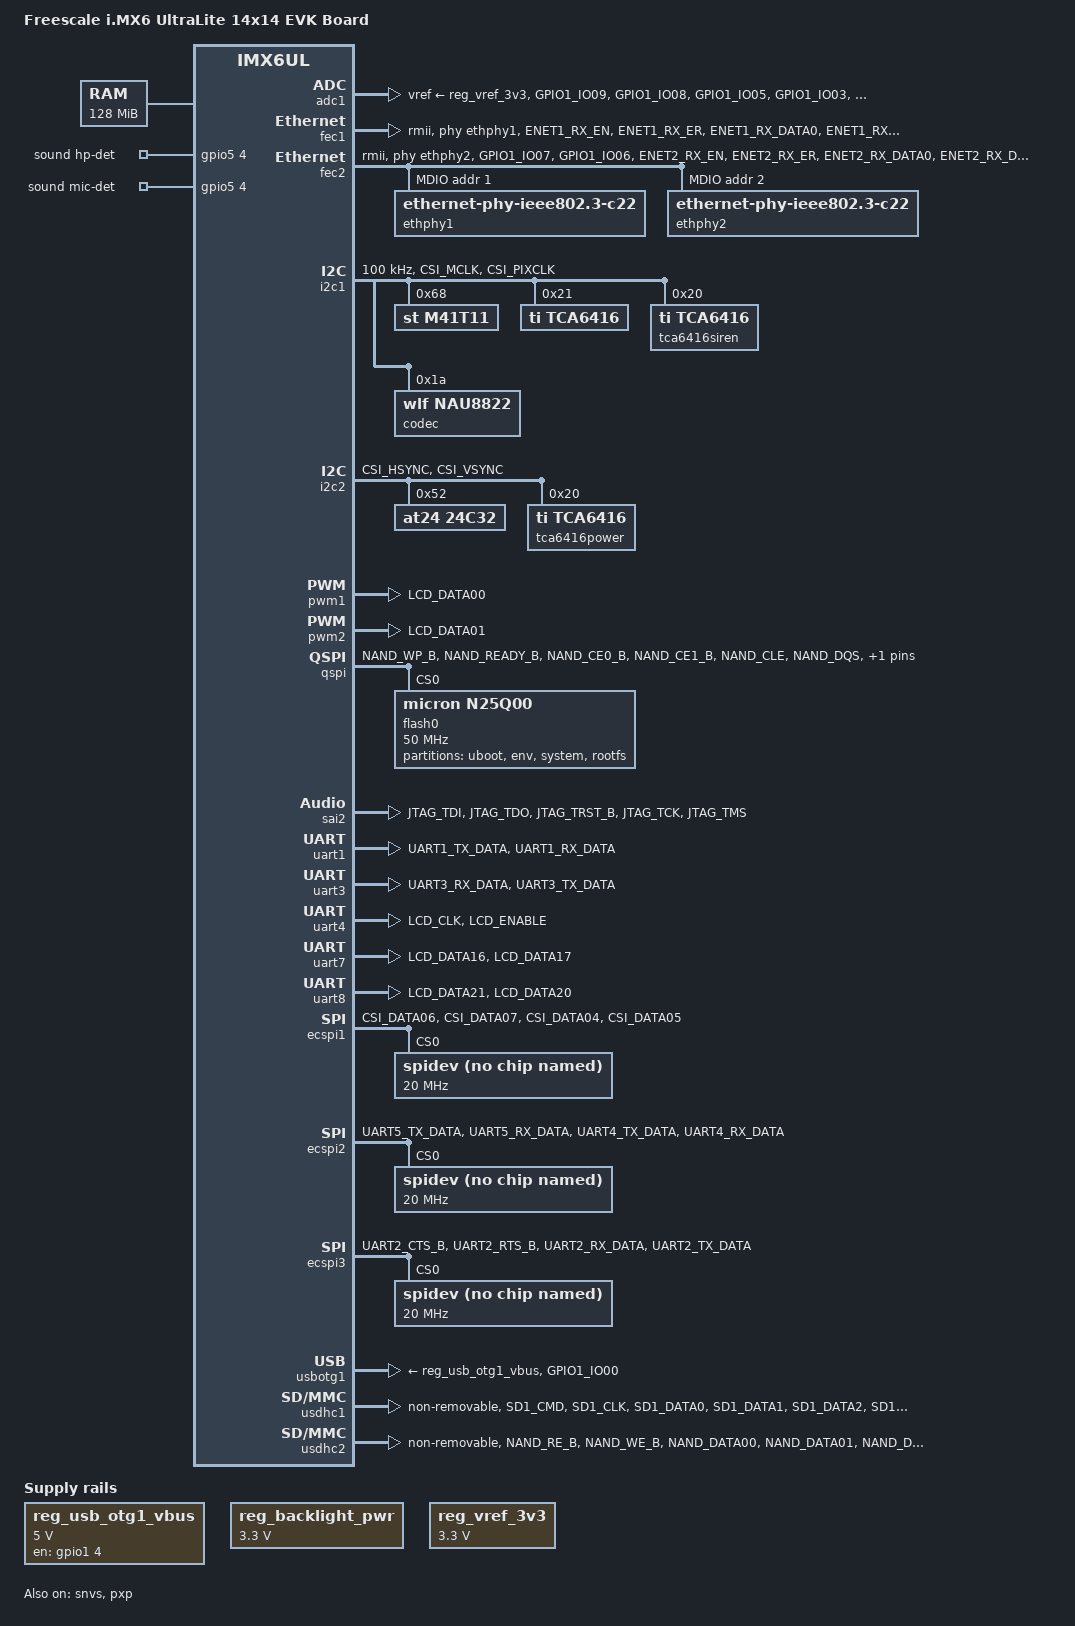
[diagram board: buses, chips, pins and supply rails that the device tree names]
/*
 * Copyright (C) 2015 Freescale Semiconductor, Inc.
 *
 * This program is free software; you can redistribute it and/or modify
 * it under the terms of the GNU General Public License version 2 as
 * published by the Free Software Foundation.
 */

/dts-v1/;

#include <dt-bindings/input/input.h>
#include "imx6ul.dtsi"

/ {
	model = "Freescale i.MX6 UltraLite 14x14 EVK Board";
	compatible = "fsl,imx6ul-health-care", "fsl,imx6ul";

	chosen {
		stdout-path = &uart1;
	};

	memory {
		reg = <0x80000000 0x8000000>;
	};

	reserved-memory {
		#address-cells = <1>;
		#size-cells = <1>;
		ranges;

		linux,cma {
			compatible = "shared-dma-pool";
			reusable;
			size = <0x2000000>;
			linux,cma-default;
		};
	};

	

	pxp_v4l2 {
		compatible = "fsl,imx6ul-pxp-v4l2", "fsl,imx6sx-pxp-v4l2", "fsl,imx6sl-pxp-v4l2";
		status = "okay";
	};

	/*backlight0 {
		compatible = "pwm-backlight";
		pwms = <&pwm2 0 50000>;
		brightness-levels = <0 4 8 16 32 64 128 255>;
		default-brightness-level = <6>;
		power-supply = <&reg_backlight_pwr>;
		enable-gpios = <&gpio3 6 1>;
		status = "okay";
	};*/

	regulators { 
		compatible = "simple-bus";
		#address-cells = <1>;
		#size-cells = <0>;

		reg_usb_otg1_vbus: regulator@2 {
			compatible = "regulator-fixed";
			reg = <2>;
			pinctrl-names = "default";
			pinctrl-0 = <&pinctrl_usb_otg1>;
			regulator-name = "usb_otg1_vbus";
			regulator-min-microvolt = <5000000>;
			regulator-max-microvolt = <5000000>;
			//gpio = <&gpio2 0 GPIO_ACTIVE_HIGH>;
			//enable-active-high;
			gpio = <&gpio1 4 GPIO_ACTIVE_HIGH>;
			enable-active-high;
		};
		reg_backlight_pwr: regulator@4 {
			compatible = "regulator-fixed";
			reg = <4>;
			regulator-name = "backlight-pwr";
			regulator-min-microvolt = <3300000>;
			regulator-max-microvolt = <3300000>;
		};

		reg_vref_3v3: regulator@7 {
			compatible = "regulator-fixed";
			reg = <7>;
			regulator-name = "vref-3v3";
			regulator-min-microvolt = <3300000>;
			regulator-max-microvolt = <3300000>;
		};

		
	};

	/*sound {
		compatible = "fsl,imx-audio-nau8822";
		model = "nau8822-audio";
		ssi-controller = <&ssi2>;
		audio-codec = <&codec>;
		audio-routing =
			"Mic Bias", "AMIC";
		mux-int-port = <2>;
		mux-ext-port = <6>;
	};*/
	sound {
		compatible = "fsl,imx-audio-nau8822",
			   "fsl,imx-audio-nau8822";
		model = "nau8822-audio";
		cpu-dai = <&sai2>;
		audio-codec = <&codec>;
		asrc-controller = <&asrc>;
		codec-master;
		gpr = <&gpr>;
		/*
                 * hp-det = <hp-det-pin hp-det-polarity>;
		 * hp-det-pin: JD1 JD2  or JD3
		 * hp-det-polarity = 0: hp detect high for headphone
		 * hp-det-polarity = 1: hp detect high for speaker
		 */
		hp-det = <1 0>;
		hp-det-gpios = <&gpio5 4 0>;
		mic-det-gpios = <&gpio5 4 0>;
		/*audio-routing =
			"Headphone Jack", "HP_L",
			"Headphone Jack", "HP_R",
			"Ext Spk", "SPK_LP",
			"Ext Spk", "SPK_LN",
			"Ext Spk", "SPK_RP",
			"Ext Spk", "SPK_RN",
			"LINPUT2", "Mic Jack",
			"LINPUT3", "Mic Jack",
			"RINPUT1", "Main MIC",
			"RINPUT2", "Main MIC",
			"Mic Jack", "MICB",
			"Main MIC", "MICB",
			"CPU-Playback", "ASRC-Playback",
			"Playback", "CPU-Playback",
			"ASRC-Capture", "CPU-Capture",
			"CPU-Capture", "Capture";*/
		audio-routing =
			"Mic Bias", "AMIC",
			"Ext Spk", "LSPK",
			"Ext Spk", "RSPK",
			"Mic Bias", "LMICN",
			"Mic Bias", "LMICP";
	};

	
	
};

&cpu0 {
	arm-supply = <&reg_arm>;
	soc-supply = <&reg_soc>;
	//dc-supply = <&reg_gpio_dvfs>;
};

&clks {
	assigned-clocks = <&clks IMX6UL_CLK_PLL4_AUDIO_DIV>;
	assigned-clock-rates = <786432000>;
};

&csi {
	status = "disabled";

	
};

&adc1 {
	pinctrl-names = "default";
	pinctrl-0 = <&pinctrl_adc1>;
	vref-supply = <&reg_vref_3v3>;
	status = "okay";
};

/*&adc2 {
	vref-supply = <&reg_vref_3v3>;
	status = "okay";
};*/


&fec1 {
	pinctrl-names = "default";
	pinctrl-0 = <&pinctrl_enet1>;
	phy-mode = "rmii";
	phy-handle = <&ethphy1>;
	status = "okay";
};

&fec2 {
	pinctrl-names = "default";
	pinctrl-0 = <&pinctrl_enet2>;
	phy-mode = "rmii";
	phy-handle = <&ethphy2>;
	status = "okay";

	mdio {
		#address-cells = <1>;
		#size-cells = <0>;

		ethphy1: ethernet-phy@1 {
			compatible = "ethernet-phy-ieee802.3-c22";
			reg = <1>;
		};

		ethphy2: ethernet-phy@2 {
			compatible = "ethernet-phy-ieee802.3-c22";
			reg = <2>;
		};
	};
};

/*&flexcan1 {
	pinctrl-names = "default";
	pinctrl-0 = <&pinctrl_flexcan1>;
	//xceiver-supply = <&reg_can_3v3>;
	status = "disabled";
};

&flexcan2 {
	pinctrl-names = "default";
	pinctrl-0 = <&pinctrl_flexcan2>;
	//xceiver-supply = <&reg_can_3v3>;
	status = "disabled";
};*/

&gpc {
	fsl,cpu_pupscr_sw2iso = <0x1>;
	fsl,cpu_pupscr_sw = <0x0>;
	fsl,cpu_pdnscr_iso2sw = <0x1>;
	fsl,cpu_pdnscr_iso = <0x1>;
	fsl,ldo-bypass = <0>; /* DCDC, ldo-enable */
};

&i2c1 {
	clock-frequency = <100000>;
	pinctrl-names = "default";
	pinctrl-0 = <&pinctrl_i2c1>;
	status = "okay";

	/*mag3110@0e {
		compatible = "fsl,mag3110";
		reg = <0x0e>;
		position = <2>;
	};

	fxls8471@1e {
		compatible = "fsl,fxls8471";
		reg = <0x1e>;
		position = <0>;
		interrupt-parent = <&gpio5>;
		interrupts = <0 8>;
	};*/

	m41t11: m41t11@68 {  
		compatible = "st,m41t11"; 
		reg = <0x68>;
            	status = "okay"; 
	};

	tca6416: tca6416@21 {
		compatible = "ti,tca6416";
		reg = <0x21>;
		#gpio-cells = <2>;
		gpio-controller;
	};

	tca6416siren: tca6416@20 {
		compatible = "ti,tca6416";
		reg = <0x20>;
		#gpio-cells = <2>;
		gpio-controller;
	};

	/*codec: nau8822@1a {
		compatible = "wlf,nau8822";
		reg = <0x1a>;
		clocks = <&clks IMX6UL_CLK_AUDIO>;
	};*/
	codec: nau8822@1a {
		compatible = "wlf,nau8822";
		reg = <0x1a>;
		clocks = <&clks IMX6UL_CLK_SAI2>;
		clock-names = "mclk";
		wlf,shared-lrclk;
	};
};

&i2c2 {
	clock_frequency = <100000>;
	pinctrl-names = "default";
	pinctrl-0 = <&pinctrl_i2c2>;
	status = "okay";

	at24@52 {
		compatible = "at24,24c32";
		pagesize = <32>;
		reg = <0x52>;
	};

	tca6416power: tca6416@20 {
		compatible = "ti,tca6416";
		reg = <0x20>;
		#gpio-cells = <2>;
		gpio-controller;
	};
};

&snvs{
	status = "okay";
};

&iomuxc {
	pinctrl-names = "default";
	pinctrl-0 = <&pinctrl_hog_1>;
	mx6ul-health-care {
		pinctrl_hog_1: hoggrp-1 {
			fsl,pins = <
				MX6UL_PAD_UART1_RTS_B__GPIO1_IO19	0x17059 /* SD1 CD */
				//MX6UL_PAD_GPIO1_IO05__USDHC1_VSELECT	0x17059 /* SD1 VSELECT */
				//MX6UL_PAD_GPIO1_IO09__GPIO1_IO09        0x17059 /* SD1 RESET */
				MX6UL_PAD_SNVS_TAMPER0__GPIO5_IO00	0x80000000
			>;
		};

		pinctrl_adc1: adc1grp {
			fsl,pins = <
			  	MX6UL_PAD_GPIO1_IO09__GPIO1_IO09 0xb0
				MX6UL_PAD_GPIO1_IO08__GPIO1_IO08 0xb0
				MX6UL_PAD_GPIO1_IO05__GPIO1_IO05 0xb0
				MX6UL_PAD_GPIO1_IO03__GPIO1_IO03 0xb0
				MX6UL_PAD_GPIO1_IO02__GPIO1_IO02 0xb0
			>;
		};

		pinctrl_csi1: csi1grp {
			fsl,pins = <
				/*MX6UL_PAD_CSI_MCLK__CSI_MCLK		0x1b088
				MX6UL_PAD_CSI_PIXCLK__CSI_PIXCLK	0x1b088
				MX6UL_PAD_CSI_VSYNC__CSI_VSYNC		0x1b088
				MX6UL_PAD_CSI_HSYNC__CSI_HSYNC		0x1b088
				MX6UL_PAD_CSI_DATA00__CSI_DATA02	0x1b088
				MX6UL_PAD_CSI_DATA01__CSI_DATA03	0x1b088
				MX6UL_PAD_CSI_DATA02__CSI_DATA04	0x1b088
				MX6UL_PAD_CSI_DATA03__CSI_DATA05	0x1b088
				MX6UL_PAD_CSI_DATA04__CSI_DATA06	0x1b088
				MX6UL_PAD_CSI_DATA05__CSI_DATA07	0x1b088
				MX6UL_PAD_CSI_DATA06__CSI_DATA08	0x1b088
				MX6UL_PAD_CSI_DATA07__CSI_DATA09	0x1b088*/
			>;
		};

		pinctrl_dvfs: dvfsgrp {
			fsl,pins = <
				MX6UL_PAD_SNVS_TAMPER3__GPIO5_IO03	0x79
			>;
		};

		pinctrl_enet1: enet1grp {
			fsl,pins = <
				MX6UL_PAD_ENET1_RX_EN__ENET1_RX_EN	0x1b0b0
				MX6UL_PAD_ENET1_RX_ER__ENET1_RX_ER	0x1b0b0
				MX6UL_PAD_ENET1_RX_DATA0__ENET1_RDATA00	0x1b0b0
				MX6UL_PAD_ENET1_RX_DATA1__ENET1_RDATA01	0x1b0b0
				MX6UL_PAD_ENET1_TX_EN__ENET1_TX_EN	0x1b0b0
				MX6UL_PAD_ENET1_TX_DATA0__ENET1_TDATA00	0x1b0b0
				MX6UL_PAD_ENET1_TX_DATA1__ENET1_TDATA01	0x1b0b0
				//MX6UL_PAD_ENET1_TX_CLK__ENET1_REF_CLK1	0x4001b031

			>;
		};

		pinctrl_enet2: enet2grp {
			fsl,pins = <
				MX6UL_PAD_GPIO1_IO07__ENET2_MDC		0x1b0b0
				MX6UL_PAD_GPIO1_IO06__ENET2_MDIO	0x1b0b0
				MX6UL_PAD_ENET2_RX_EN__ENET2_RX_EN	0x1b0b0
				MX6UL_PAD_ENET2_RX_ER__ENET2_RX_ER	0x1b0b0
				MX6UL_PAD_ENET2_RX_DATA0__ENET2_RDATA00	0x1b0b0
				MX6UL_PAD_ENET2_RX_DATA1__ENET2_RDATA01	0x1b0b0
				MX6UL_PAD_ENET2_TX_EN__ENET2_TX_EN	0x1b0b0
				MX6UL_PAD_ENET2_TX_DATA0__ENET2_TDATA00	0x1b0b0
				MX6UL_PAD_ENET2_TX_DATA1__ENET2_TDATA01	0x1b0b0
				MX6UL_PAD_ENET2_TX_CLK__ENET2_REF_CLK2	0x4001b031
				MX6UL_PAD_ENET1_TX_CLK__ENET1_REF_CLK1	0x4001b031
			>;
		};

		pinctrl_flexcan1: flexcan1grp{
			fsl,pins = <
				MX6UL_PAD_UART3_RTS_B__FLEXCAN1_RX	0x1b020
				MX6UL_PAD_UART3_CTS_B__FLEXCAN1_TX	0x1b020
			>;
		};

		pinctrl_flexcan2: flexcan2grp{
			fsl,pins = <
				//MX6UL_PAD_UART2_RTS_B__FLEXCAN2_RX	0x1b020
				//MX6UL_PAD_UART2_CTS_B__FLEXCAN2_TX	0x1b020
			>;
		};

		pinctrl_i2c1: i2c1grp {
			fsl,pins = <
				//MX6UL_PAD_UART4_TX_DATA__I2C1_SCL 0x4001b8b0
				//MX6UL_PAD_UART4_RX_DATA__I2C1_SDA 0x4001b8b0
				MX6UL_PAD_CSI_MCLK__I2C1_SDA 0x4001b8b0
				MX6UL_PAD_CSI_PIXCLK__I2C1_SCL 0x4001b8b0
			>;
		};

		pinctrl_i2c2: i2c2grp {
			fsl,pins = <
				//MX6UL_PAD_UART5_TX_DATA__I2C2_SCL 0x4001b8b0
				//MX6UL_PAD_UART5_RX_DATA__I2C2_SDA 0x4001b8b0
				MX6UL_PAD_CSI_HSYNC__I2C2_SCL 0x4001b8b0
				MX6UL_PAD_CSI_VSYNC__I2C2_SDA 0x4001b8b0
			>;
		};

		pinctrl_lcdif_dat: lcdifdatgrp {
			fsl,pins = <
				//MX6UL_PAD_LCD_DATA00__LCDIF_DATA00  0x79
				//MX6UL_PAD_LCD_DATA01__LCDIF_DATA01  0x79
				MX6UL_PAD_LCD_DATA02__LCDIF_DATA02  0x79
				MX6UL_PAD_LCD_DATA03__LCDIF_DATA03  0x79
				MX6UL_PAD_LCD_DATA04__LCDIF_DATA04  0x79
				MX6UL_PAD_LCD_DATA05__LCDIF_DATA05  0x79
				MX6UL_PAD_LCD_DATA06__LCDIF_DATA06  0x79
				MX6UL_PAD_LCD_DATA07__LCDIF_DATA07  0x79
				MX6UL_PAD_LCD_DATA08__LCDIF_DATA08  0x79
				MX6UL_PAD_LCD_DATA09__LCDIF_DATA09  0x79
				MX6UL_PAD_LCD_DATA10__LCDIF_DATA10  0x79
				MX6UL_PAD_LCD_DATA11__LCDIF_DATA11  0x79
				MX6UL_PAD_LCD_DATA12__LCDIF_DATA12  0x79
				MX6UL_PAD_LCD_DATA13__LCDIF_DATA13  0x79
				MX6UL_PAD_LCD_DATA14__LCDIF_DATA14  0x79
				MX6UL_PAD_LCD_DATA15__LCDIF_DATA15  0x79
				//MX6UL_PAD_LCD_DATA16__LCDIF_DATA16  0x79
				//MX6UL_PAD_LCD_DATA17__LCDIF_DATA17  0x79
				MX6UL_PAD_LCD_DATA18__LCDIF_DATA18  0x79
				MX6UL_PAD_LCD_DATA19__LCDIF_DATA19  0x79
				//MX6UL_PAD_LCD_DATA20__LCDIF_DATA20  0x79
				//MX6UL_PAD_LCD_DATA21__LCDIF_DATA21  0x79
				MX6UL_PAD_LCD_DATA22__LCDIF_DATA22  0x79
				MX6UL_PAD_LCD_DATA23__LCDIF_DATA23  0x79
			>;
		};

		pinctrl_lcdif_ctrl: lcdifctrlgrp {
			fsl,pins = <
				/*MX6UL_PAD_LCD_CLK__LCDIF_CLK	    0x79
				MX6UL_PAD_LCD_ENABLE__LCDIF_ENABLE  0x79
				MX6UL_PAD_LCD_HSYNC__LCDIF_HSYNC    0x79
				MX6UL_PAD_LCD_VSYNC__LCDIF_VSYNC    0x79*/
				/* used for lcd reset */
				MX6UL_PAD_SNVS_TAMPER9__GPIO5_IO09  0x79
			>;
		};

		pinctrl_pwm1: pwm1grp {
			fsl,pins = <
				MX6UL_PAD_LCD_DATA00__PWM1_OUT   0x110b0
			>;
		};

		pinctrl_pwm2: pwm2grp {
			fsl,pins = <
				MX6UL_PAD_LCD_DATA01__PWM2_OUT   0x110b0
			>;
		};

		pinctrl_qspi: qspigrp {
			fsl,pins = <
				MX6UL_PAD_NAND_WP_B__QSPI_A_SCLK      0x70a1
				MX6UL_PAD_NAND_READY_B__QSPI_A_DATA00 0x70a1
				MX6UL_PAD_NAND_CE0_B__QSPI_A_DATA01   0x70a1
				MX6UL_PAD_NAND_CE1_B__QSPI_A_DATA02   0x70a1
				MX6UL_PAD_NAND_CLE__QSPI_A_DATA03     0x70a1
				MX6UL_PAD_NAND_DQS__QSPI_A_SS0_B      0x70a1
				MX6UL_PAD_NAND_ALE__GPIO4_IO10        0x17059
			>;
		};

		pinctrl_sai2: sai2grp {
			fsl,pins = <
				MX6UL_PAD_JTAG_TDI__SAI2_TX_BCLK	0x17088
				MX6UL_PAD_JTAG_TDO__SAI2_TX_SYNC	0x17088
				MX6UL_PAD_JTAG_TRST_B__SAI2_TX_DATA	0x11088
				MX6UL_PAD_JTAG_TCK__SAI2_RX_DATA	0x11088
				MX6UL_PAD_JTAG_TMS__SAI2_MCLK		0x17088
				//MX6UL_PAD_SNVS_TAMPER4__GPIO5_IO04	0x17059
			>;
		};

		pinctrl_sim2_1: sim2grp-1 {
			fsl,pins = <
				MX6UL_PAD_CSI_DATA03__SIM2_PORT1_PD		0xb808
				//MX6UL_PAD_CSI_DATA04__SIM2_PORT1_CLK		0x11
				//MX6UL_PAD_CSI_DATA05__SIM2_PORT1_RST_B		0xb810
				//MX6UL_PAD_CSI_DATA06__SIM2_PORT1_SVEN		0xb810
				//MX6UL_PAD_CSI_DATA07__SIM2_PORT1_TRXD		0xb811
				MX6UL_PAD_CSI_DATA02__GPIO4_IO23		0x3008
			>;
		};

		pinctrl_spi4: spi4grp {
			fsl,pins = <
				MX6UL_PAD_BOOT_MODE0__GPIO5_IO10	0x70a1
				MX6UL_PAD_BOOT_MODE1__GPIO5_IO11	0x70a1
				MX6UL_PAD_SNVS_TAMPER7__GPIO5_IO07	0x70a1
				MX6UL_PAD_SNVS_TAMPER8__GPIO5_IO08	0x80000000
			>;
		};

		pinctrl_tsc: tscgrp {
			fsl,pins = <
				//MX6UL_PAD_GPIO1_IO01__GPIO1_IO01	0xb0
				//MX6UL_PAD_GPIO1_IO02__GPIO1_IO02	0xb0
				//MX6UL_PAD_GPIO1_IO03__GPIO1_IO03	0xb0
				//MX6UL_PAD_GPIO1_IO04__GPIO1_IO04	0xb0
			>;
		};

		pinctrl_uart1: uart1grp {
			fsl,pins = <
				MX6UL_PAD_UART1_TX_DATA__UART1_DCE_TX 0x1b0b1
				MX6UL_PAD_UART1_RX_DATA__UART1_DCE_RX 0x1b0b1
			>;
		};

		pinctrl_uart2: uart2grp {
			fsl,pins = <
				MX6UL_PAD_UART2_TX_DATA__UART2_DCE_TX	0x1b0b1
				MX6UL_PAD_UART2_RX_DATA__UART2_DCE_RX	0x1b0b1
				//MX6UL_PAD_UART3_RX_DATA__UART2_DCE_RTS	0x1b0b1
				//MX6UL_PAD_UART3_TX_DATA__UART2_DCE_CTS	0x1b0b1
			>;
		};

		pinctrl_uart3: uart3grp {
			fsl,pins = <
				MX6UL_PAD_UART3_RX_DATA__UART3_DCE_RX 0x1b0b1
				MX6UL_PAD_UART3_TX_DATA__UART3_DCE_TX 0x1b0b1
			>;
		};

		pinctrl_uart4: uart4grp {
			fsl,pins = <
				MX6UL_PAD_LCD_CLK__UART4_DCE_TX	0x1b0b1
				MX6UL_PAD_LCD_ENABLE__UART4_DCE_RX	0x1b0b1
				//MX6UL_PAD_LCD_VSYNC__UART4_DCE_RTS	0x1b0b1
				//MX6UL_PAD_LCD_HSYNC__UART4_DCE_CTS	0x1b0b1
			>;
		};

		pinctrl_uart6: uart6grp {
			fsl,pins = <
				MX6UL_PAD_CSI_PIXCLK__UART6_DCE_RX 0x1b0b1
				MX6UL_PAD_CSI_MCLK__UART6_DCE_TX 0x1b0b1
			>;
		};

		pinctrl_uart7: uart7grp {
			fsl,pins = <
				//MX6UL_PAD_ENET2_RX_EN__UART7_DCE_TX 0x1b0b1//snd
				//MX6UL_PAD_ENET2_TX_DATA0__UART7_DCE_RX  0x1b0b1//rcv

				//MX6UL_PAD_ENET2_RX_EN__UART7_DTE_RX 0x1b0b1//rcv
				//MX6UL_PAD_ENET2_TX_DATA0__UART7_DTE_TX  0x1b0b1//snd
				MX6UL_PAD_LCD_DATA16__UART7_DCE_TX  0x1b0b1
				MX6UL_PAD_LCD_DATA17__UART7_DCE_RX  0x1b0b1
			>;
		};

		pinctrl_uart2dte: uart2dtegrp {
			fsl,pins = <
				//MX6UL_PAD_UART2_TX_DATA__UART2_DTE_RX	0x1b0b1
				//MX6UL_PAD_UART2_RX_DATA__UART2_DTE_TX	0x1b0b1
				MX6UL_PAD_UART3_RX_DATA__UART2_DTE_CTS	0x1b0b1
				MX6UL_PAD_UART3_TX_DATA__UART2_DTE_RTS	0x1b0b1
			>;
		};

		pinctrl_uart8: uart8grp {
			fsl,pins = <
				MX6UL_PAD_LCD_DATA21__UART8_DCE_RX 0x1b0b1
				MX6UL_PAD_LCD_DATA20__UART8_DCE_TX 0x1b0b1
			>;
		};

		pinctrl_ecspi1: ecspi1grp {
			fsl,pins = <
				MX6UL_PAD_CSI_DATA06__ECSPI1_MOSI	0x1b0b9
				MX6UL_PAD_CSI_DATA07__ECSPI1_MISO 	0x1b0b9
				MX6UL_PAD_CSI_DATA04__ECSPI1_SCLK    0x1b0b9
				MX6UL_PAD_CSI_DATA05__ECSPI1_SS0     0x0b0b9
			>;
		};

		pinctrl_ecspi2: ecspi2grp {
			fsl,pins = <
				MX6UL_PAD_UART5_TX_DATA__ECSPI2_MOSI	0x1b0b9
				MX6UL_PAD_UART5_RX_DATA__ECSPI2_MISO	0x1b0b9
				MX6UL_PAD_UART4_TX_DATA__ECSPI2_SCLK    0x1b0b9
				MX6UL_PAD_UART4_RX_DATA__ECSPI2_SS0     0x0b0b9
			>;
		};

		pinctrl_ecspi3: ecspi3grp {
			fsl,pins = <
				MX6UL_PAD_UART2_CTS_B__ECSPI3_MOSI	0x1b0b9
				MX6UL_PAD_UART2_RTS_B__ECSPI3_MISO 	0x1b0b9
				MX6UL_PAD_UART2_RX_DATA__ECSPI3_SCLK    0x1b0b9
				MX6UL_PAD_UART2_TX_DATA__ECSPI3_SS0     0x0b0b9
			>;
		};

		/*pinctrl_audmux: audmuxgrp {
			fsl,pins = <
				MX6SX_PAD_CSI_DATA00__AUDMUX_AUD6_TXC	0x130b0
				MX6SX_PAD_CSI_DATA01__AUDMUX_AUD6_TXFS	0x130b0
				MX6SX_PAD_CSI_HSYNC__AUDMUX_AUD6_TXD	0x120b0
				MX6SX_PAD_CSI_VSYNC__AUDMUX_AUD6_RXD	0x130b0
				MX6SX_PAD_CSI_PIXCLK__AUDMUX_MCLK	0x130b0
			>;
		};*/

		pinctrl_usdhc1: usdhc1grp {
			fsl,pins = <
				MX6UL_PAD_SD1_CMD__USDHC1_CMD     0x17059
				MX6UL_PAD_SD1_CLK__USDHC1_CLK     0x100f9
				MX6UL_PAD_SD1_DATA0__USDHC1_DATA0 0x17059
				MX6UL_PAD_SD1_DATA1__USDHC1_DATA1 0x17059
				MX6UL_PAD_SD1_DATA2__USDHC1_DATA2 0x17059
				MX6UL_PAD_SD1_DATA3__USDHC1_DATA3 0x17059
			>;
		};

		pinctrl_usdhc1_100mhz: usdhc1grp100mhz {
			fsl,pins = <
				MX6UL_PAD_SD1_CMD__USDHC1_CMD     0x170b9
				MX6UL_PAD_SD1_CLK__USDHC1_CLK     0x100b9
				MX6UL_PAD_SD1_DATA0__USDHC1_DATA0 0x170b9
				MX6UL_PAD_SD1_DATA1__USDHC1_DATA1 0x170b9
				MX6UL_PAD_SD1_DATA2__USDHC1_DATA2 0x170b9
				MX6UL_PAD_SD1_DATA3__USDHC1_DATA3 0x170b9
			>;
		};

		pinctrl_usdhc1_200mhz: usdhc1grp200mhz {
			fsl,pins = <
				MX6UL_PAD_SD1_CMD__USDHC1_CMD     0x170f9
				MX6UL_PAD_SD1_CLK__USDHC1_CLK     0x100f9
				MX6UL_PAD_SD1_DATA0__USDHC1_DATA0 0x170f9
				MX6UL_PAD_SD1_DATA1__USDHC1_DATA1 0x170f9
				MX6UL_PAD_SD1_DATA2__USDHC1_DATA2 0x170f9
				MX6UL_PAD_SD1_DATA3__USDHC1_DATA3 0x170f9
			>;
		};

		pinctrl_usdhc2: usdhc2grp {
			fsl,pins = <
				MX6UL_PAD_NAND_RE_B__USDHC2_CLK     0x10051
				MX6UL_PAD_NAND_WE_B__USDHC2_CMD     0x17051
				MX6UL_PAD_NAND_DATA00__USDHC2_DATA0 0x17051
				MX6UL_PAD_NAND_DATA01__USDHC2_DATA1 0x17051
				MX6UL_PAD_NAND_DATA02__USDHC2_DATA2 0x17051
				MX6UL_PAD_NAND_DATA03__USDHC2_DATA3 0x17051
			>;
		};

		pinctrl_usdhc2_8bit: usdhc2grp_8bit {
			fsl,pins = <
				MX6UL_PAD_NAND_RE_B__USDHC2_CLK     0x10051
				MX6UL_PAD_NAND_WE_B__USDHC2_CMD     0x17051
				MX6UL_PAD_NAND_DATA00__USDHC2_DATA0 0x17051
				MX6UL_PAD_NAND_DATA01__USDHC2_DATA1 0x17051
				MX6UL_PAD_NAND_DATA02__USDHC2_DATA2 0x17051
				MX6UL_PAD_NAND_DATA03__USDHC2_DATA3 0x17051
				MX6UL_PAD_NAND_DATA04__USDHC2_DATA4 0x17051
				MX6UL_PAD_NAND_DATA05__USDHC2_DATA5 0x17051
				MX6UL_PAD_NAND_DATA06__USDHC2_DATA6 0x17051
				MX6UL_PAD_NAND_DATA07__USDHC2_DATA7 0x17051
			>;
		};

		pinctrl_usdhc2_8bit_100mhz: usdhc2grp_8bit_100mhz {
			fsl,pins = <
				MX6UL_PAD_NAND_RE_B__USDHC2_CLK     0x100b9
				MX6UL_PAD_NAND_WE_B__USDHC2_CMD     0x170b9
				MX6UL_PAD_NAND_DATA00__USDHC2_DATA0 0x170b9
				MX6UL_PAD_NAND_DATA01__USDHC2_DATA1 0x170b9
				MX6UL_PAD_NAND_DATA02__USDHC2_DATA2 0x170b9
				MX6UL_PAD_NAND_DATA03__USDHC2_DATA3 0x170b9
				MX6UL_PAD_NAND_DATA04__USDHC2_DATA4 0x170b9
				MX6UL_PAD_NAND_DATA05__USDHC2_DATA5 0x170b9
				MX6UL_PAD_NAND_DATA06__USDHC2_DATA6 0x170b9
				MX6UL_PAD_NAND_DATA07__USDHC2_DATA7 0x170b9
			>;
		};

		pinctrl_usdhc2_8bit_200mhz: usdhc2grp_8bit_200mhz {
			fsl,pins = <
				MX6UL_PAD_NAND_RE_B__USDHC2_CLK     0x100f9
				MX6UL_PAD_NAND_WE_B__USDHC2_CMD     0x170f9
				MX6UL_PAD_NAND_DATA00__USDHC2_DATA0 0x170f9
				MX6UL_PAD_NAND_DATA01__USDHC2_DATA1 0x170f9
				MX6UL_PAD_NAND_DATA02__USDHC2_DATA2 0x170f9
				MX6UL_PAD_NAND_DATA03__USDHC2_DATA3 0x170f9
				MX6UL_PAD_NAND_DATA04__USDHC2_DATA4 0x170f9
				MX6UL_PAD_NAND_DATA05__USDHC2_DATA5 0x170f9
				MX6UL_PAD_NAND_DATA06__USDHC2_DATA6 0x170f9
				MX6UL_PAD_NAND_DATA07__USDHC2_DATA7 0x170f9
			>;
		};
		pinctrl_wdog: wdoggrp {
			fsl,pins = <
				//MX6UL_PAD_LCD_RESET__WDOG1_WDOG_ANY    0x30b0
			>;
		};

		pinctrl_usb_otg1_id: usbotg1idgrp {
			fsl,pins = <
				MX6UL_PAD_GPIO1_IO00__ANATOP_OTG1_ID	0x17059
			>;
		};
		pinctrl_usb_otg1: usbotg1grp {
			fsl,pins = <
				MX6UL_PAD_GPIO1_IO04__GPIO1_IO04        0x10b0
			>;
		};

		pinctrl_gpmi_nand: gpmi-nand {
			fsl,pins = <
				MX6UL_PAD_NAND_CLE__RAWNAND_CLE         0xb0b1
				MX6UL_PAD_NAND_ALE__RAWNAND_ALE         0xb0b1
				MX6UL_PAD_NAND_WP_B__RAWNAND_WP_B       0xb0b1
				MX6UL_PAD_NAND_READY_B__RAWNAND_READY_B 0xb000
				MX6UL_PAD_NAND_CE0_B__RAWNAND_CE0_B     0xb0b1
				MX6UL_PAD_NAND_CE1_B__RAWNAND_CE1_B     0xb0b1
				MX6UL_PAD_NAND_RE_B__RAWNAND_RE_B       0xb091
				MX6UL_PAD_NAND_WE_B__RAWNAND_WE_B       0xb091
				MX6UL_PAD_NAND_DATA00__RAWNAND_DATA00   0xb091
				MX6UL_PAD_NAND_DATA01__RAWNAND_DATA01   0xb091
				MX6UL_PAD_NAND_DATA02__RAWNAND_DATA02   0xb091
				MX6UL_PAD_NAND_DATA03__RAWNAND_DATA03   0xb091
				MX6UL_PAD_NAND_DATA04__RAWNAND_DATA04   0xb091
				MX6UL_PAD_NAND_DATA05__RAWNAND_DATA05   0xb091
				MX6UL_PAD_NAND_DATA06__RAWNAND_DATA06   0xb091
				MX6UL_PAD_NAND_DATA07__RAWNAND_DATA07   0xb091
			>;
		};
	};
};

&lcdif {
	pinctrl-names = "default";
	pinctrl-0 = <&pinctrl_lcdif_dat
		     &pinctrl_lcdif_ctrl>;
	display = <&display0>;
	status = "disabled";

	display0: display {
		bits-per-pixel = <16>;
		bus-width = <24>;

		display-timings {
			native-mode = <&timing0>;
			timing0: timing0 {
			clock-frequency = <9200000>;
			hactive = <480>;
			vactive = <272>;
			hfront-porch = <8>;
			hback-porch = <4>;
			hsync-len = <41>;
			vback-porch = <2>;
			vfront-porch = <4>;
			vsync-len = <10>;

			hsync-active = <0>;
			vsync-active = <0>;
			de-active = <1>;
			pixelclk-active = <0>;
			};
		};
	};
};

&pwm1 {
	pinctrl-names = "default";
	pinctrl-0 = <&pinctrl_pwm1>;
	status = "okay";
};

&pwm2 {
	pinctrl-names = "default";
	pinctrl-0 = <&pinctrl_pwm2>;
	status = "okay";
};

&pxp {
	status = "okay";
};

&gpmi {
	pinctrl-names = "default";
	pinctrl-0 = <&pinctrl_gpmi_nand>;
	status = "disable"; 
	partition@0 {
		label = "uboot";
		reg = <0 0x800000>;
	};
	partition@0x800000 {
		label = "env";
		reg = <0x800000 0x400000>;
	};
	partition@0xc00000 {
		label = "system";
		reg = <0xc00000 0x2000000>;
	};
	partition@0x1c00000 {
		label = "rootfs";
		reg = <0x2c00000 0x3d400000>;
	};
};

&qspi {
	pinctrl-names = "default";
	pinctrl-0 = <&pinctrl_qspi>;
	status = "okay";
	
	flash0: n25q00@0 {
		#address-cells = <1>;
		#size-cells = <1>;
		compatible = "micron,n25q00";
		spi-max-frequency = <50000000>;
		reg = <0>;
        
        partition@0 {
            label = "uboot";
            reg = <0 0x100000>;
        };
        partition@0x100000 {
            label = "env";
            reg = <0x100000 0x400000>;
        };
        partition@0x500000 {
            label = "system";
            reg = <0x500000 0x2000000>;
        };
        partition@0x2500000 {
            label = "rootfs";
            reg = <0x2500000 0x5B00000>;
        };
	};
};

&sai2 {
	pinctrl-names = "default";
	pinctrl-0 = <&pinctrl_sai2>;

	assigned-clocks = <&clks IMX6UL_CLK_SAI2_SEL>,
			  <&clks IMX6UL_CLK_SAI2>;
	assigned-clock-parents = <&clks IMX6UL_CLK_PLL4_AUDIO_DIV>;
	assigned-clock-rates = <0>, <12288000>;

	//status = "disabled";
	status = "okay";
};

&sim2 {
	pinctrl-names = "default";
	pinctrl-0 = <&pinctrl_sim2_1>;
	assigned-clocks = <&clks IMX6UL_CLK_SIM_SEL>;
	assigned-clock-parents = <&clks IMX6UL_CLK_SIM_PODF>;
	assigned-clock-rates = <240000000>;
	/* GPIO_ACTIVE_HIGH/LOW:sim card voltage control
	 * NCN8025:Vcc = ACTIVE_HIGH?5V:3V
	 * TDA8035:Vcc = ACTIVE_HIGH?5V:1.8V
	 */
	pinctrl-assert-gpios = <&gpio4 23 GPIO_ACTIVE_HIGH>;
	port = <1>;
	sven_low_active;
	status = "disabled";
};

&tsc {
	pinctrl-names = "default";
	pinctrl-0 = <&pinctrl_tsc>;
	xnur-gpio = <&gpio1 3 GPIO_ACTIVE_LOW>;
	measure-delay-time = <0xffff>;
	pre-charge-time = <0xfff>;
	status = "disabled";
};

/*&ssi2 {
	fsl,mode = "i2s-slave";
	status = "okay";
};

&audmux {  
    pinctrl-names = "default";  
    pinctrl-0 = <&pinctrl_audmux>;  
    status = "okay";  
};*/
&uart1 {
	pinctrl-names = "default";
	pinctrl-0 = <&pinctrl_uart1>;
	status = "okay";
};

&uart2 {
	pinctrl-names = "default";
	pinctrl-0 = <&pinctrl_uart2>;
	//fsl,uart-has-rtscts;
	/* for DTE mode, add below change */
	/* fsl,dte-mode; */
	/* pinctrl-0 = <&pinctrl_uart2dte>; */
	status = "disabled";
};

&uart3 {
	pinctrl-names = "default";
	pinctrl-0 = <&pinctrl_uart3>;
	//fsl,uart-has-rtscts;
	status = "okay";
};

&uart4 {
	pinctrl-names = "default";
	pinctrl-0 = <&pinctrl_uart4>;
	//fsl,uart-has-rtscts;
	status = "okay";
};

&uart6 {
	pinctrl-names = "default";
	pinctrl-0 = <&pinctrl_uart6>;
	status = "disabled";
};

&uart7 {
	pinctrl-names = "default";
	pinctrl-0 = <&pinctrl_uart7>;
	//fsl,dte-mode; 
	status = "okay";
};

&uart8 {
	pinctrl-names = "default";
	pinctrl-0 = <&pinctrl_uart8>;
	status = "okay";
};


&ecspi1 {
	fsl,spi-num-chipselects = <1>;
	/*cs-gpios = <&gpio4 28 0>;*/
	pinctrl-names = "default";
	pinctrl-0 = <&pinctrl_ecspi1>;
	status = "okay";
	spidev@0 {
		compatible = "rohm,dh2228fv";
		spi-max-frequency = <20000000>;
		reg = <0>;
		dmas = <&sdma 3 7 1>, <&sdma 4 7 2>;
		dma-names = "rx", "tx";
	};
};

&ecspi2 {
	fsl,spi-num-chipselects = <1>;
	/*cs-gpios = <&gpio4 28 0>;*/
	pinctrl-names = "default";
	pinctrl-0 = <&pinctrl_ecspi2>;
	status = "okay";
	spidev@0 {
		compatible = "rohm,dh2228fv";
		spi-max-frequency = <20000000>;
		reg = <0>;
		dmas = <&sdma 5 7 1>, <&sdma 6 7 2>;
		dma-names = "rx", "tx";
	};
};

&ecspi3 {
	fsl,spi-num-chipselects = <1>;
	/*cs-gpios = <&gpio4 28 0>;*/
	pinctrl-names = "default";
	pinctrl-0 = <&pinctrl_ecspi3>;
	status = "okay";
	spidev@0 {
		compatible = "rohm,dh2228fv";
		spi-max-frequency = <20000000>;
		reg = <0>;
		dmas = <&sdma 7 7 1>, <&sdma 8 7 2>;
		dma-names = "rx", "tx";
	};
};

&usbotg1 {
        vbus-supply = <&reg_usb_otg1_vbus>;
	pinctrl-names = "default";
	pinctrl-0 = <&pinctrl_usb_otg1_id>;
	srp-disable;
	hnp-disable;
	adp-disable;
	//dr_mode = "host";
	//disable-over-current;
	status = "okay";
};

/*&usbotg2 {
	dr_mode = "host";
	disable-over-current;
	status = "disabled";
};*/

&usbphy1 {
	tx-d-cal = <0x5>;
};

&usbphy2 {
	tx-d-cal = <0x5>;
};

&usdhc1 {
	pinctrl-names = "default";
	pinctrl-0 = <&pinctrl_usdhc1>;
	non-removable;
	keep-power-in-suspend;
	enable-sdio-wakeup;
	status = "okay";
};

&usdhc2 {
	pinctrl-names = "default";
	pinctrl-0 = <&pinctrl_usdhc2>;
	non-removable;
	status = "okay";
};

&wdog1 {
	pinctrl-names = "default";
	pinctrl-0 = <&pinctrl_wdog>;
	fsl,wdog_b;
};
